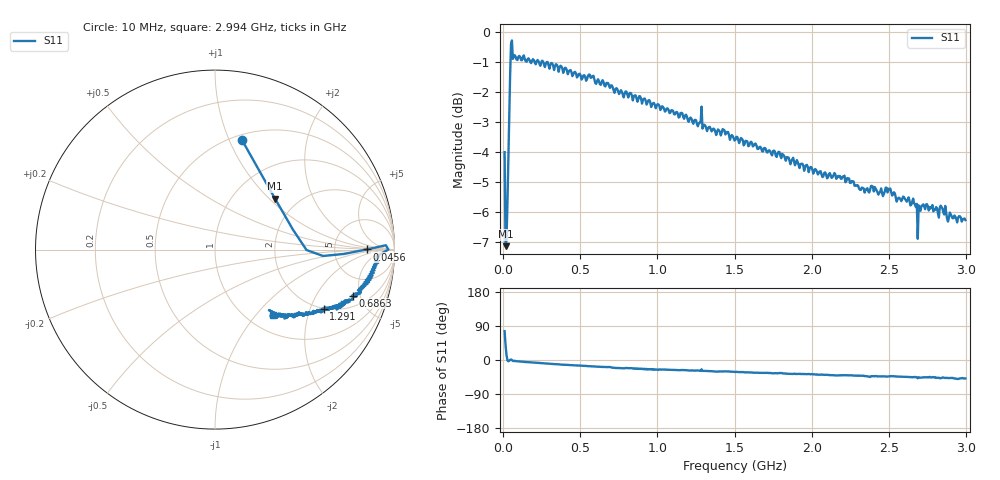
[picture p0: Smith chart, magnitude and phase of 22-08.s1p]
# HZ S RI R 50
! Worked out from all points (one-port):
!   504 points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, 10 MHz to 2.994 GHz, reference 50 ohm
!   lowest |S11| = -7.2 dB at 15.93 MHz (marker M1), VSWR 2.56, Z = 77 + j54.3 ohm
!   |S11| at or under -10 dB: nowhere
!   S11 on the Smith chart (normalised r, x): 10 MHz: 0.55, +1.12; 45.6 MHz: 12, +0; 686.3 MHz: 2.88, -4.33; 1.291 GHz: 1.98, -2.49; 2.994 GHz: 1.29, -1.23
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1e7  0.15 0.6113
1.593254e7  0.334 0.2846
2.186508e7  0.4338 0.112
2.779762e7  0.51 -0.00241
3.373016e7  0.6019 -0.0354
4.559524e7  0.8444 0.000658
5.746032e7  0.9662 0.00043
6.339286e7  0.8994 -0.0385
7.525794e7  0.9125 -0.0325
9.89881e7  0.9054 -0.06
3.8375e8  0.8484 -0.1821
6.863096e8  0.7705 -0.2563
7.575e8  0.7383 -0.2906
1.13125e9  0.6533 -0.3259
1.291429e9  0.6049 -0.33
1.303294e9  0.6135 -0.336
1.368552e9  0.5949 -0.3438
1.43381e9  0.594 -0.3397
1.505e9  0.5626 -0.3454
1.87875e9  0.4936 -0.3685
2.2525e9  0.4279 -0.3608
2.365218e9  0.3909 -0.3748
2.519464e9  0.3894 -0.364
2.62625e9  0.3758 -0.3727
2.697441e9  0.3474 -0.3651
2.750833e9  0.3603 -0.3635
2.940675e9  0.3085 -0.3688
2.994068e9  0.3205 -0.3641
